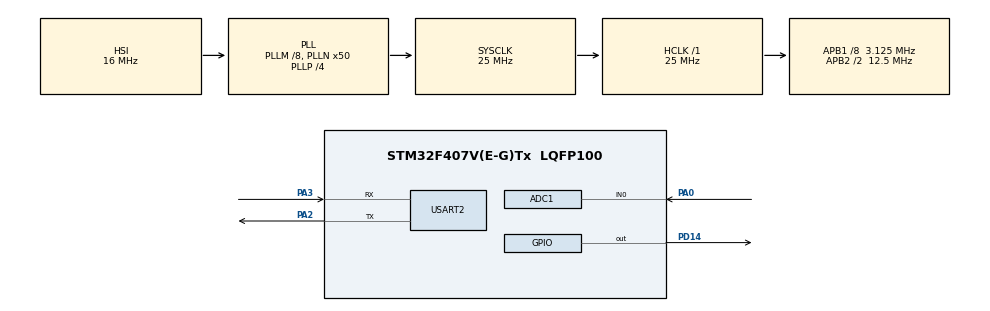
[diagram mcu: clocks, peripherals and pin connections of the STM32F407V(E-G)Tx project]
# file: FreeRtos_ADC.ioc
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ADC1.Channel-0\#ChannelRegularConversion=ADC_CHANNEL_0
ADC1.NbrOfConversionFlag=1
ADC1.Rank-0\#ChannelRegularConversion=1
ADC1.SamplingTime-0\#ChannelRegularConversion=ADC_SAMPLETIME_3CYCLES
ADC1.master=1
FREERTOS.Tasks01=defaultTask,24,128,StartDefaultTask,Default,NULL,Dynamic,NULL,NULL
FREERTOS.configUSE_NEWLIB_REENTRANT=1
Mcu.Family=STM32F4
Mcu.Name=STM32F407V(E-G)Tx
Mcu.Package=LQFP100
NVIC.PriorityGroup=NVIC_PRIORITYGROUP_4
NVIC.TIM6_DAC_IRQn=true\:15\:0\:false\:false\:true\:false\:false\:true\:true
NVIC.TimeBase=TIM6_DAC_IRQn
NVIC.TimeBaseIP=TIM6
PA0-WKUP.Signal=ADCx_IN0
PA2.Mode=Asynchronous
PA2.Signal=USART2_TX
PA3.Mode=Asynchronous
PA3.Signal=USART2_RX
PD14.Signal=GPIO_Output
ProjectManager.HeapSize=0x200
ProjectManager.StackSize=0x400
ProjectManager.TargetToolchain=STM32CubeIDE
RCC.48MHZClocksFreq_Value=14285714.285714285
RCC.AHBFreq_Value=25000000
RCC.APB1CLKDivider=RCC_HCLK_DIV8
RCC.APB1Freq_Value=3125000
RCC.APB1TimFreq_Value=6250000
RCC.APB2CLKDivider=RCC_HCLK_DIV2
RCC.APB2Freq_Value=12500000
RCC.APB2TimFreq_Value=25000000
RCC.CortexFreq_Value=25000000
RCC.HCLKFreq_Value=25000000
RCC.HSE_VALUE=8000000
RCC.HSI_VALUE=16000000
RCC.PLLM=8
RCC.PLLN=50
RCC.PLLP=RCC_PLLP_DIV4
RCC.PLLQ=7
RCC.SYSCLKFreq_VALUE=25000000
RCC.SYSCLKSource=RCC_SYSCLKSOURCE_PLLCLK
RCC.VCOOutputFreq_Value=100000000
SH.ADCx_IN0.0=ADC1_IN0,IN0
USART2.VirtualMode=VM_ASYNC
VP_FREERTOS_VS_CMSIS_V2.Mode=CMSIS_V2
VP_SYS_VS_tim6.Mode=TIM6
board=STM32F407G-DISC1

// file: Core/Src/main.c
/* USER CODE BEGIN Header */
/**
  ******************************************************************************
  * @file           : main.c
  * @brief          : Main program body
  ******************************************************************************
  * @attention
  *
  * Copyright (c) 2026 STMicroelectronics.
  * All rights reserved.
  *
  * This software is licensed under terms that can be found in the LICENSE file
  * in the root directory of this software component.
  * If no LICENSE file comes with this software, it is provided AS-IS.
  *
  ******************************************************************************
  */
/* USER CODE END Header */
#include "main.h"
#include "cmsis_os.h"

/* USER CODE BEGIN Includes */
#include<stdio.h>
#include<string.h>
/* USER CODE END Includes */

ADC_HandleTypeDef hadc1;

UART_HandleTypeDef huart2;

/* Definitions for defaultTask */
osThreadId_t defaultTaskHandle;
const osThreadAttr_t defaultTask_attributes = {
  .name = "defaultTask",
  .stack_size = 128 * 4,
  .priority = (osPriority_t) osPriorityNormal,
};

void SystemClock_Config(void);
static void MX_GPIO_Init(void);
static void MX_ADC1_Init(void);
static void MX_USART2_UART_Init(void);
void StartDefaultTask(void *argument);

/* USER CODE BEGIN 0 */
void vLED_BlinkingTask(void *pvParam)
{
	TickType_t pxLastWakeUpTime = xTaskGetTickCount();
	while(1)
	{
		HAL_GPIO_TogglePin(GPIOD, GPIO_PIN_14);
		vTaskDelayUntil(&pxLastWakeUpTime, 1000 / portTICK_RATE_MS);
	}
	vTaskDelete(NULL);
}

void vADCReadingTask(void *pvParam)
{
	uint32_t value;
	uint8_t msg[64];

	while(1)
	{
		HAL_ADC_Start(&hadc1);
		HAL_ADC_PollForConversion(&hadc1, HAL_MAX_DELAY);
		value = HAL_ADC_GetValue(&hadc1);
		HAL_ADC_Stop(&hadc1);

		sprintf((char *)msg, "Light Intensity = %lu\n\r", value);
		HAL_UART_Transmit(&huart2, (uint8_t *)msg, strlen((char *)msg), HAL_MAX_DELAY);

		vTaskDelay(4000 / portTICK_RATE_MS);
	}
	vTaskDelete(NULL);
}
/* USER CODE END 0 */

int main(void)
{

  /* MCU Configuration--------------------------------------------------------*/

  /* Reset of all peripherals, Initializes the Flash interface and the Systick. */
  HAL_Init();

  /* Configure the system clock */
  SystemClock_Config();

  /* Initialize all configured peripherals */
  MX_GPIO_Init();
  MX_ADC1_Init();
  MX_USART2_UART_Init();

  /* Init scheduler */
  osKernelInitialize();

  /* Create the thread(s) */
  /* creation of defaultTask */
  defaultTaskHandle = osThreadNew(StartDefaultTask, NULL, &defaultTask_attributes);

  /* USER CODE BEGIN RTOS_THREADS */
  xTaskCreate(vLED_BlinkingTask, "LEDTask", configMINIMAL_STACK_SIZE, NULL, 3, NULL);
  xTaskCreate(vADCReadingTask, "ADCTask", configMINIMAL_STACK_SIZE, NULL, 4, NULL);
  /* USER CODE END RTOS_THREADS */

  /* Start scheduler */
  osKernelStart();

  /* We should never get here as control is now taken by the scheduler */

  /* Infinite loop */
  while (1)
  {

  }
}

void SystemClock_Config(void)
{
  RCC_OscInitTypeDef RCC_OscInitStruct = {0};
  RCC_ClkInitTypeDef RCC_ClkInitStruct = {0};

  /** Configure the main internal regulator output voltage
  */
  __HAL_RCC_PWR_CLK_ENABLE();
  __HAL_PWR_VOLTAGESCALING_CONFIG(PWR_REGULATOR_VOLTAGE_SCALE1);

  /** Initializes the RCC Oscillators according to the specified parameters
  * in the RCC_OscInitTypeDef structure.
  */
  RCC_OscInitStruct.OscillatorType = RCC_OSCILLATORTYPE_HSI;
  RCC_OscInitStruct.HSIState = RCC_HSI_ON;
  RCC_OscInitStruct.HSICalibrationValue = RCC_HSICALIBRATION_DEFAULT;
  RCC_OscInitStruct.PLL.PLLState = RCC_PLL_ON;
  RCC_OscInitStruct.PLL.PLLSource = RCC_PLLSOURCE_HSI;
  RCC_OscInitStruct.PLL.PLLM = 8;
  RCC_OscInitStruct.PLL.PLLN = 50;
  RCC_OscInitStruct.PLL.PLLP = RCC_PLLP_DIV4;
  RCC_OscInitStruct.PLL.PLLQ = 7;
  if (HAL_RCC_OscConfig(&RCC_OscInitStruct) != HAL_OK)
  {
    Error_Handler();
  }

  /** Initializes the CPU, AHB and APB buses clocks
  */
  RCC_ClkInitStruct.ClockType = RCC_CLOCKTYPE_HCLK|RCC_CLOCKTYPE_SYSCLK
                              |RCC_CLOCKTYPE_PCLK1|RCC_CLOCKTYPE_PCLK2;
  RCC_ClkInitStruct.SYSCLKSource = RCC_SYSCLKSOURCE_PLLCLK;
  RCC_ClkInitStruct.AHBCLKDivider = RCC_SYSCLK_DIV1;
  RCC_ClkInitStruct.APB1CLKDivider = RCC_HCLK_DIV8;
  RCC_ClkInitStruct.APB2CLKDivider = RCC_HCLK_DIV2;

  if (HAL_RCC_ClockConfig(&RCC_ClkInitStruct, FLASH_LATENCY_0) != HAL_OK)
  {
    Error_Handler();
  }
}

static void MX_ADC1_Init(void)
{

  ADC_ChannelConfTypeDef sConfig = {0};

  /** Configure the global features of the ADC (Clock, Resolution, Data Alignment and number of conversion)
  */
  hadc1.Instance = ADC1;
  hadc1.Init.ClockPrescaler = ADC_CLOCK_SYNC_PCLK_DIV2;
  hadc1.Init.Resolution = ADC_RESOLUTION_12B;
  hadc1.Init.ScanConvMode = DISABLE;
  hadc1.Init.ContinuousConvMode = DISABLE;
  hadc1.Init.DiscontinuousConvMode = DISABLE;
  hadc1.Init.ExternalTrigConvEdge = ADC_EXTERNALTRIGCONVEDGE_NONE;
  hadc1.Init.ExternalTrigConv = ADC_SOFTWARE_START;
  hadc1.Init.DataAlign = ADC_DATAALIGN_RIGHT;
  hadc1.Init.NbrOfConversion = 1;
  hadc1.Init.DMAContinuousRequests = DISABLE;
  hadc1.Init.EOCSelection = ADC_EOC_SINGLE_CONV;
  if (HAL_ADC_Init(&hadc1) != HAL_OK)
  {
    Error_Handler();
  }

  /** Configure for the selected ADC regular channel its corresponding rank in the sequencer and its sample time.
  */
  sConfig.Channel = ADC_CHANNEL_0;
  sConfig.Rank = 1;
  sConfig.SamplingTime = ADC_SAMPLETIME_3CYCLES;
  if (HAL_ADC_ConfigChannel(&hadc1, &sConfig) != HAL_OK)
  {
    Error_Handler();
  }

}

static void MX_USART2_UART_Init(void)
{

  huart2.Instance = USART2;
  huart2.Init.BaudRate = 115200;
  huart2.Init.WordLength = UART_WORDLENGTH_8B;
  huart2.Init.StopBits = UART_STOPBITS_1;
  huart2.Init.Parity = UART_PARITY_NONE;
  huart2.Init.Mode = UART_MODE_TX_RX;
  huart2.Init.HwFlowCtl = UART_HWCONTROL_NONE;
  huart2.Init.OverSampling = UART_OVERSAMPLING_16;
  if (HAL_UART_Init(&huart2) != HAL_OK)
  {
    Error_Handler();
  }

}

static void MX_GPIO_Init(void)
{
  GPIO_InitTypeDef GPIO_InitStruct = {0};

  /* GPIO Ports Clock Enable */
  __HAL_RCC_GPIOA_CLK_ENABLE();
  __HAL_RCC_GPIOD_CLK_ENABLE();

  /*Configure GPIO pin Output Level */
  HAL_GPIO_WritePin(GPIOD, GPIO_PIN_14, GPIO_PIN_RESET);

  /*Configure GPIO pin : PD14 */
  GPIO_InitStruct.Pin = GPIO_PIN_14;
  GPIO_InitStruct.Mode = GPIO_MODE_OUTPUT_PP;
  GPIO_InitStruct.Pull = GPIO_NOPULL;
  GPIO_InitStruct.Speed = GPIO_SPEED_FREQ_LOW;
  HAL_GPIO_Init(GPIOD, &GPIO_InitStruct);

}

void StartDefaultTask(void *argument)
{
  for(;;)
  {
    osDelay(1);
  }
}

void HAL_TIM_PeriodElapsedCallback(TIM_HandleTypeDef *htim)
{
  if (htim->Instance == TIM6)
  {
    HAL_IncTick();
  }
}

void Error_Handler(void)
{
  __disable_irq();
  while (1)
  {
  }
}
